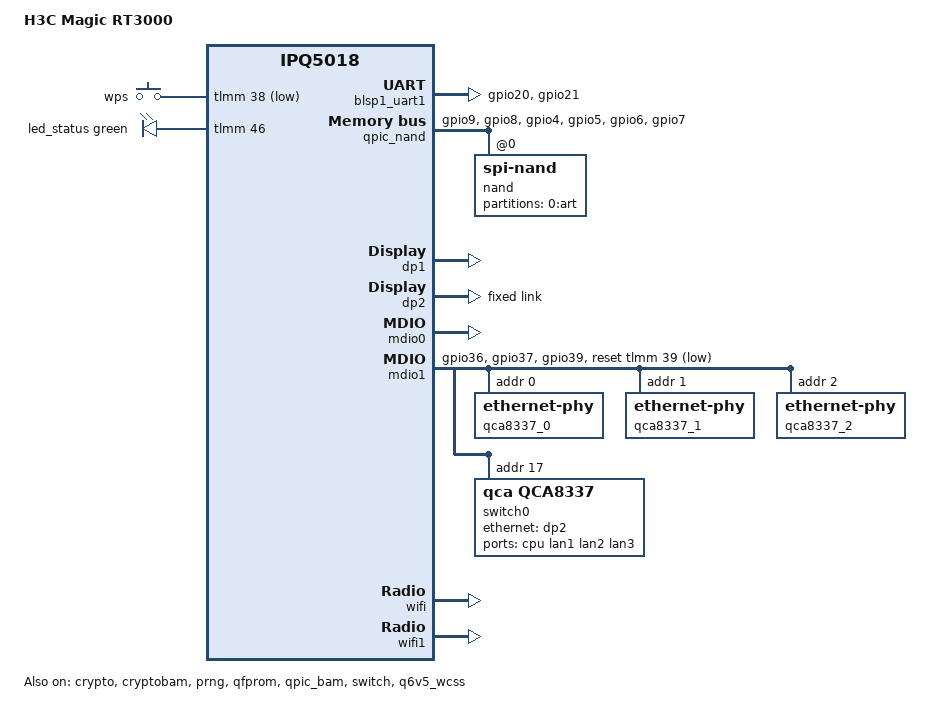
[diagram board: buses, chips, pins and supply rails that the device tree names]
// SPDX-License-Identifier: GPL-2.0-or-later OR MIT
/*
 * H3C Magic RT3000 (RC3000) device tree source
 *
 * Derived from ipq5018-mr3000d-ci.dts and ipq5018-gl-b3000.dts in
 * OpenWrt 25.12, adapted to the RC3000 / RW3000 hardware.
 *
 * Hardware facts come from 硬件信息汇总.md (RC3000):
 *   - SoC       : IPQ5018, 256 MiB DDR3
 *   - NAND      : 128 MiB SPI NAND, 128 KiB PEB, 2048 B page, 8-bit
 *   - WAN       : gmac0 -> internal GE PHY (mdio0 addr 7) -> dedicated port
 *   - LAN       : gmac1 -> SGMII -> QCA8337 -> 3 copper ports
 *   - Switch    : QCA8337, MDIO 0x11 (TBC), reset GPIO 39 active low
 *   - 2.4 GHz   : IPQ5018 integrated, user PD 1
 *   - 5 GHz     : QCN6122 on PCIe0, user PD 2, fw-memory-mode 2
 *   - UART      : blsp0_uart0, GPIO 20 (TX) / 21 (RX), 115200 8N1
 *   - LED       : GPIO 46 (status), GPIO 38 (WPS key)
 */

/dts-v1/;

#include "ipq5018.dtsi"
#include "ipq5018-ess.dtsi"
#include "ipq5018-qcn6122.dtsi"

#include <dt-bindings/gpio/gpio.h>
#include <dt-bindings/input/input.h>
#include <dt-bindings/leds/common.h>

/ {
	model = "H3C Magic RT3000";
	compatible = "h3c,rc3000", "qcom,ipq5018";

	aliases {
		/* 硬件信息汇总 §9: 串口是 blsp0_uart0。
		 * 注意：上游 ipq5018.dtsi 只有 blsp1_uart1，没有 blsp0_uart0。
		 * 如果你的源码树打了 9999 补丁加了 blsp0_uart0，把下面改成 &blsp0_uart0；
		 * 否则串口在 initramfs 阶段不可用（先按 blsp1_uart1 编，不影响网络）。 */
		serial0 = &blsp1_uart1;

		led-boot = &led_status;
		led-failsafe = &led_status;
		led-running = &led_status;
		led-upgrade = &led_status;
	};

	chosen {
		bootargs-append = " root=/dev/ubiblock0_1 swiotlb=1 coherent_pool=2M";
		stdout-path = "serial0:115200n8";
	};

	keys {
		compatible = "gpio-keys";
		pinctrl-0 = <&button_pins>;
		pinctrl-names = "default";

		/* 硬件信息汇总 §8: GPIO 38 = WPS 键，低有效 */
		button-wps {
			label = "wps";
			gpios = <&tlmm 38 GPIO_ACTIVE_LOW>;
			linux,code = <KEY_WPS_BUTTON>;
		};
	};

	leds {
		compatible = "gpio-leds";
		pinctrl-0 = <&led_pins>;
		pinctrl-names = "default";

		/* 硬件信息汇总 §8: GPIO 46 = 状态 LED，高有效 */
		led_status: led-0 {
			gpios = <&tlmm 46 GPIO_ACTIVE_HIGH>;
			color = <LED_COLOR_ID_GREEN>;
			function = LED_FUNCTION_STATUS;
		};
	};
};

&sleep_clk {
	clock-frequency = <32000>;
};

&xo_board_clk {
	clock-div = <4>;
	clock-mult = <1>;
};

/* 临时串口节点，见 aliases 处的说明 */
&blsp1_uart1 {
	pinctrl-0 = <&serial_0_pins>;
	pinctrl-names = "default";
	status = "okay";
};

&crypto {
	status = "okay";
};

&cryptobam {
	status = "okay";
};

&prng {
	status = "okay";
};

&qfprom {
	status = "okay";
};

&qpic_bam {
	status = "okay";
};

&qpic_nand {
	pinctrl-0 = <&qpic_pins>;
	pinctrl-names = "default";
	status = "okay";

	/* 硬件信息汇总 §2: 128 MiB SPI NAND, 8-bit 位宽。
	 * ECC strength/step 不写：上游 ipq5018.dtsi 与
	 * patches-6.12/0401-spi-spi-qpic-snand-default-to-4-bit-ECC.patch
	 * 已经默认 4/512，与硬件一致。 */
	nand@0 {
		compatible = "spi-nand";
		reg = <0>;
		nand-ecc-engine = <&qpic_nand>;
		nand-bus-width = <8>;

		partitions {
			compatible = "qcom,smem-part";

			partition-art {
				label = "0:art";
				read-only;
			};
			/* 硬件信息汇总 §13.2: ART 里没有 MAC，绝对不能写
			 * nvmem-layout / nvmem-cells，否则拿到垃圾地址。 */
		};
	};
};

/* ================= 网络 ================= */

&switch {
	status = "okay";
	switch_mac_mode = <MAC_MODE_SGMII_CHANNEL0>;

	qcom,port_phyinfo {
		/* 硬件信息汇总 §3.1: WAN = MAC0 -> 片内 GE PHY。
		 * GE PHY 在 mdio0 上固定地址 7。 */
		port@0 {
			port_id = <1>;
			mdiobus = <&mdio0>;
			phy_address = <7>;
		};

		/* 硬件信息汇总 §3.1: LAN = MAC1 -> SGMII -> QCA8337 */
		port@1 {
			port_id = <2>;
			forced-speed = <1000>;
			forced-duplex = <1>;
		};
	};
};

/* 硬件信息汇总 §3.1 + §13.1:
 * WAN 是 gmac0 上片内 GE PHY 的独立 netdev，不在交换机上。
 * 因此不给它 phy-handle 指向交换机 PHY，也不写 label="wan"
 * 以外的 DSA 属性。 */
&dp1 {
	status = "okay";
	label = "wan";
	/* 不写 nvmem-cells：硬件信息汇总 §13.2 */
};

/* LAN 侧：MAC1 -> SGMII -> QCA8337 CPU 口 */
&dp2 {
	status = "okay";
	fixed-link {
		speed = <1000>;
		full-duplex;
	};
	/* 不写 nvmem-cells：硬件信息汇总 §13.2 */
};

&mdio0 {
	status = "okay";
};

&mdio1 {
	status = "okay";
	pinctrl-0 = <&mdio1_pins>, <&switch_reset_pins>;
	pinctrl-names = "default";

	/* 硬件信息汇总 §3.2: QCA8337 复位 = GPIO 39，低有效。
	 * （PZ-L8 用 26，那是错的，见 §13.5） */
	reset-gpios = <&tlmm 39 GPIO_ACTIVE_LOW>;

	/* 硬件信息汇总 §3.2: LAN PHY 地址 = mdio1 的 0 / 1 / 2 */
	qca8337_0: ethernet-phy@0 {
		reg = <0>;
	};

	qca8337_1: ethernet-phy@1 {
		reg = <1>;
	};

	qca8337_2: ethernet-phy@2 {
		reg = <2>;
	};

	/* 硬件信息汇总 §3.3: OpenWrt 全树 IPQ5018+QCA8337 都用 0x11。
	 * 厂家 CAF 树写 0x1c。刷前用 U-Boot 确认：
	 *     ipq5018 mdio read 1 17 0
	 *     ipq5018 mdio read 1 28 0
	 * 哪个返回 0x004933xx 就是它。若是 0x1c，把这里的 @17/reg 和
	 * 上面 ethernet-switch@17 一起改成 @28 / <28>。 */
	switch0: ethernet-switch@17 {
		compatible = "qca,qca8337";
		reg = <17>;
		#address-cells = <1>;
		#size-cells = <0>;

		ports {
			#address-cells = <1>;
			#size-cells = <0>;

			/* 硬件信息汇总 §3.2: CPU = port6 */
			switch0cpu: port@6 {
				reg = <6>;
				label = "cpu";
				phy-mode = "sgmii";
				ethernet = <&dp2>;
				qca,sgmii-enable-pll;

				fixed-link {
					speed = <1000>;
					full-duplex;
				};
			};

			/* 硬件信息汇总 §3.2: 面板口 = port2/3/4，
			 * 对应 mdio1 的 PHY 0/1/2 */
			port@2 {
				reg = <2>;
				label = "lan1";
				phy-handle = <&qca8337_0>;
			};

			port@3 {
				reg = <3>;
				label = "lan2";
				phy-handle = <&qca8337_1>;
			};

			port@4 {
				reg = <4>;
				label = "lan3";
				phy-handle = <&qca8337_2>;
			};
		};
	};
};

&tlmm {
	button_pins: button-state {
		button-pins {
			/* 硬件信息汇总 §8: GPIO 38 = WPS */
			pins = "gpio38";
			function = "gpio";
			drive-strength = <8>;
			bias-pull-up;
		};
	};

	led_pins: led-state {
		/* 硬件信息汇总 §8: GPIO 46 = 状态 LED */
		pins = "gpio46";
		function = "gpio";
		drive-strength = <8>;
		bias-pull-down;
	};

	mdio1_pins: mdio-state {
		mdc-pins {
			/* 硬件信息汇总 §8: GPIO 36/37 = MDIO1 mdc/mdio */
			pins = "gpio36";
			function = "mdc";
			drive-strength = <8>;
			bias-pull-up;
		};

		mdio-pins {
			pins = "gpio37";
			function = "mdio";
			drive-strength = <8>;
			bias-pull-up;
		};
	};

	qpic_pins: qpic-state {
		/* 硬件信息汇总 §8: GPIO 4-9 = QPIC NAND */
		clock-pins {
			pins = "gpio9";
			function = "qspi_clk";
			drive-strength = <8>;
			bias-disable;
		};

		cs-pins {
			pins = "gpio8";
			function = "qspi_cs";
			drive-strength = <8>;
			bias-disable;
		};

		data-pins {
			pins = "gpio4", "gpio5", "gpio6", "gpio7";
			function = "qspi_data";
			drive-strength = <8>;
			bias-disable;
		};
	};

	switch_reset_pins: switch-reset-state {
		pins = "gpio39";
		function = "gpio";
		drive-strength = <8>;
		bias-pull-down;
	};

	/* 硬件信息汇总 §9: 串口 = GPIO 20 (TX) / 21 (RX)。
	 * function 写 blsp0_uart0。若内核没有 blsp0_uart0 节点，
	 * 这组 pin 定义不会被引用，无害。 */
	serial_0_pins: uart0-state {
		pins = "gpio20", "gpio21";
		function = "blsp0_uart0";
		drive-strength = <8>;
		bias-disable;
	};
};

/* ================= 无线 ================= */

&q6v5_wcss {
	status = "okay";

	/* 硬件信息汇总 §4 + §13.7: 两块射频共用 &q6v5_wcss，
	 * 靠 boot-args 里的 UPD ID 2 把 5G 分流到 user PD 2。 */
	boot-args = <
		/*       type:	*/	0x1	/* PCIE0	*/
		/*     length:	*/	4
		/*     UPD ID:	*/	2
		/* reset GPIO:	*/	15
		/*   reserved:	*/	0 0>;
};

/* 2.4 GHz：IPQ5018 集成，user PD 1 */
&wifi {
	status = "okay";

	qcom,rproc = <&q6_wcss_pd1>;
	/* 硬件信息汇总 §4: fw-memory-mode 实测为 2 */
	qcom,ath11k-fw-memory-mode = <2>;
	/* 硬件信息汇总 §5: q6_region_ipq5018 = 0x4c400000 */
	qcom,bdf-addr = <0x4c400000>;
};

/* 5 GHz：QCN6122，PCIe0，user PD 2 */
&wifi1 {
	status = "okay";

	qcom,rproc = <&q6_wcss_pd2>;
	qcom,userpd-subsys-name = "q6v5_wcss_userpd2";
	/* 硬件信息汇总 §4: fw-memory-mode 实测为 2 */
	qcom,ath11k-fw-memory-mode = <2>;
	/* 硬件信息汇总 §5: q6_region_qcn6122_1 = 0x4d200000 */
	qcom,bdf-addr = <0x4d200000>;
	/* 硬件信息汇总 §5: m3_dump_qcn6122_1 = 0x4df00000 */
	qcom,m3-dump-addr = <0x4df00000>;
};
